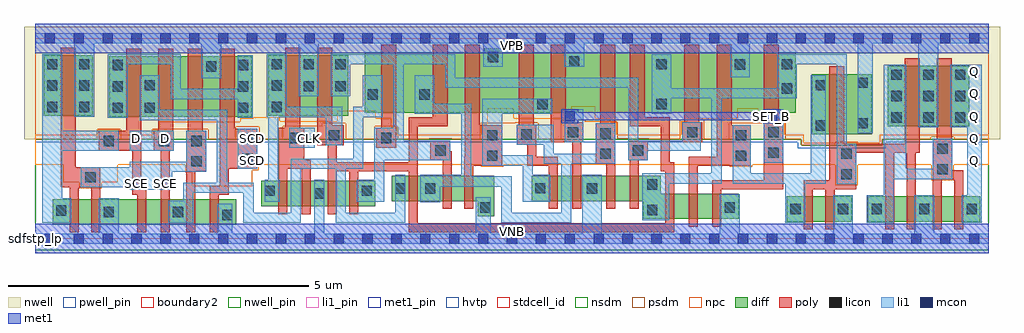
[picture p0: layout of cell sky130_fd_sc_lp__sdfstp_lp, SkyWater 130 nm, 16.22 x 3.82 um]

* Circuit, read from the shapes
.subckt sky130_fd_sc_lp__sdfstp_lp CLK D Q SCD SCE SET_B VGND VNB VPB VPWR
XM1 n1 SCE n2 VNB sky130_fd_pr__nfet_01v8 w=0.42 l=0.15
XM2 VGND SCE n1 VNB sky130_fd_pr__nfet_01v8 w=0.42 l=0.15
XM3 n3 n2 VGND VNB sky130_fd_pr__nfet_01v8 w=0.42 l=0.15
XM4 n4 D n3 VNB sky130_fd_pr__nfet_01v8 w=0.42 l=0.15
XM5 n5 SCE n4 VNB sky130_fd_pr__nfet_01v8 w=0.42 l=0.15
XM6 VGND SCD n5 VNB sky130_fd_pr__nfet_01v8 w=0.42 l=0.15
XM7 n6 CLK n7 VNB sky130_fd_pr__nfet_01v8 w=0.42 l=0.15
XM8 VGND CLK n6 VNB sky130_fd_pr__nfet_01v8 w=0.42 l=0.15
XM9 n8 n7 VGND VNB sky130_fd_pr__nfet_01v8 w=0.42 l=0.15
XM10 n9 n7 n8 VNB sky130_fd_pr__nfet_01v8 w=0.42 l=0.15
XM11 n10 n7 n4 VNB sky130_fd_pr__nfet_01v8 w=0.42 l=0.15
XM12 n11 n9 n10 VNB sky130_fd_pr__nfet_01v8 w=0.42 l=0.15
XM13 VGND n12 n11 VNB sky130_fd_pr__nfet_01v8 w=0.42 l=0.15
XM14 n13 n10 n12 VNB sky130_fd_pr__nfet_01v8 w=0.42 l=0.15
XM15 VGND SET_B n13 VNB sky130_fd_pr__nfet_01v8 w=0.42 l=0.15
XM16 n14 n10 VGND VNB sky130_fd_pr__nfet_01v8 w=0.42 l=0.15
XM17 n15 n9 n14 VNB sky130_fd_pr__nfet_01v8 w=0.42 l=0.15
XM18 n16 n7 n15 VNB sky130_fd_pr__nfet_01v8 w=0.42 l=0.15
XM19 n17 n18 n16 VNB sky130_fd_pr__nfet_01v8 w=0.42 l=0.15
XM20 VGND SET_B n17 VNB sky130_fd_pr__nfet_01v8 w=0.42 l=0.15
XM21 n19 n15 n18 VNB sky130_fd_pr__nfet_01v8 w=0.42 l=0.15
XM22 VGND n15 n19 VNB sky130_fd_pr__nfet_01v8 w=0.42 l=0.15
XM23 n20 n15 n21 VNB sky130_fd_pr__nfet_01v8 w=0.42 l=0.15
XM24 VGND n15 n20 VNB sky130_fd_pr__nfet_01v8 w=0.42 l=0.15
XM25 n22 n21 VGND VNB sky130_fd_pr__nfet_01v8 w=0.42 l=0.15
XM26 Q n21 n22 VNB sky130_fd_pr__nfet_01v8 w=0.42 l=0.15
XM27 VPWR SCE n2 VPB sky130_fd_pr__pfet_01v8_hvt w=1 l=0.25
XM28 n4 n2 n23 VPB sky130_fd_pr__pfet_01v8_hvt w=1 l=0.25
XM29 n24 D n4 VPB sky130_fd_pr__pfet_01v8_hvt w=1 l=0.25
XM30 VPWR SCE n24 VPB sky130_fd_pr__pfet_01v8_hvt w=1 l=0.25
XM31 n23 SCD VPWR VPB sky130_fd_pr__pfet_01v8_hvt w=1 l=0.25
XM32 VPWR CLK n7 VPB sky130_fd_pr__pfet_01v8_hvt w=1 l=0.25
XM33 n9 n7 VPWR VPB sky130_fd_pr__pfet_01v8_hvt w=1 l=0.25
XM34 n10 n9 n4 VPB sky130_fd_pr__pfet_01v8_hvt w=1 l=0.25
XM35 n25 n7 n10 VPB sky130_fd_pr__pfet_01v8_hvt w=1 l=0.25
XM36 VPWR n12 n25 VPB sky130_fd_pr__pfet_01v8_hvt w=1 l=0.25
XM37 n12 n10 VPWR VPB sky130_fd_pr__pfet_01v8_hvt w=1 l=0.25
XM38 VPWR SET_B n12 VPB sky130_fd_pr__pfet_01v8_hvt w=1 l=0.25
XM39 n26 n10 VPWR VPB sky130_fd_pr__pfet_01v8_hvt w=1 l=0.25
XM40 n15 n7 n26 VPB sky130_fd_pr__pfet_01v8_hvt w=1 l=0.25
XM41 n27 n9 n15 VPB sky130_fd_pr__pfet_01v8_hvt w=1 l=0.25
XM42 VPWR n18 n27 VPB sky130_fd_pr__pfet_01v8_hvt w=1 l=0.25
XM43 n15 SET_B VPWR VPB sky130_fd_pr__pfet_01v8_hvt w=1 l=0.25
XM44 VPWR n15 n18 VPB sky130_fd_pr__pfet_01v8_hvt w=1 l=0.25
XM45 VPWR n15 n21 VPB sky130_fd_pr__pfet_01v8_hvt w=1 l=0.25
XM46 Q n21 VPWR VPB sky130_fd_pr__pfet_01v8_hvt w=1 l=0.25
.ends

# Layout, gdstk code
import gdstk
lib = gdstk.Library(unit=1e-6, precision=1e-09)
def R(c, l, rs):  # rectangles x0, y0, x1, y1
    for r in rs: c.add(gdstk.rectangle(r[:2], r[2:], *l))
def A(c, l, x, y, w, h, nx, ny, dx, dy):  # array of equal rectangles
    R(c, l, [(x+i*dx, y+j*dy, x+i*dx+w, y+j*dy+h) for i in range(nx) for j in range(ny)])
def P(c, l, *ps):  # polygons
    for p in ps: c.add(gdstk.Polygon(p, *l))
nwell_pin = (64, 16)
nwell = (64, 20)
diff = (65, 20)
poly = (66, 20)
licon = (66, 44)
li1_pin = (67, 16)
li1 = (67, 20)
mcon = (67, 44)
met1_pin = (68, 16)
met1 = (68, 20)
hvtp = (78, 44)
stdcell_id = (81, 4)
nsdm = (93, 44)
psdm = (94, 20)
npc = (95, 20)
pwell_pin = (122, 16)
boundary2 = (236, 0)

sky130_fd_sc_lp__sdfstp_ = lib.new_cell('sky130_fd_sc_lp__sdfstp_lp')
R(sky130_fd_sc_lp__sdfstp_, nwell_pin, [(0,3.085,15.84,3.33)])
P(sky130_fd_sc_lp__sdfstp_, nwell, [(16.03,3.52),(-0.19,3.52),(-0.19,1.655),(12.725,1.655),(12.725,1.555),(14.075,1.555),(14.075,1.655),(16.03,1.655)])
R(sky130_fd_sc_lp__sdfstp_, diff, [(0.285,0.235,3.335,0.655), (12.485,0.285,13.565,0.705), (13.835,0.285,15.705,0.705), (3.75,0.54,5.65,0.96), (12.905,1.735,13.895,2.735), (14.165,1.87,15.515,2.87), (1.225,2.03,3.595,3.03), (0.135,2.045,0.955,3.045), (3.865,2.045,5.2,3.045)])
P(sky130_fd_sc_lp__sdfstp_, diff, [(7.625,1.045),(5.92,1.045),(5.92,0.625),(7.35,0.625),(7.35,0.375),(7.625,0.375)],
  [(11.685,0.75),(10.395,0.75),(10.395,1.045),(8.245,1.045),(8.245,0.625),(10.105,0.625),(10.105,0.33),(11.685,0.33)],
  [(12.635,3.095),(7.75,3.095),(7.75,3.165),(7.46,3.165),(7.46,3.095),(5.47,3.095),(5.47,2.095),(12.635,2.095)])
P(sky130_fd_sc_lp__sdfstp_, poly, [(1.08,1.185),(0.67,1.185),(0.67,3.175),(0.42,3.175),(0.42,0.855),(0.57,0.855),(0.57,0.105),(0.72,0.105),(0.72,0.855),(0.93,0.855),(0.93,0.105),(1.08,0.105)],
  [(1.84,0.88),(1.76,0.88),(1.76,3.16),(1.51,3.16),(1.51,1.79),(1.055,1.79),(1.055,1.46),(1.61,1.46),(1.61,0.73),(1.69,0.73),(1.69,0.105),(1.84,0.105)],
  [(2.3,1.79),(2.29,1.79),(2.29,3.16),(2.04,3.16),(2.04,1.79),(1.97,1.79),(1.97,1.46),(2.08,1.46),(2.08,0.105),(2.23,0.105),(2.23,1.46),(2.3,1.46)],
  [(2.84,1.79),(2.78,1.79),(2.78,3.16),(2.53,3.16),(2.53,1.79),(2.51,1.79),(2.51,0.105),(2.66,0.105),(2.66,1.12),(2.84,1.12)],
  [(3.69,1.83),(3.31,1.83),(3.31,3.16),(3.06,3.16),(3.06,0.88),(2.9,0.88),(2.9,0.105),(3.05,0.105),(3.05,0.73),(3.21,0.73),(3.21,1.16),(3.69,1.16)],
  [(4.575,1.315),(4.47,1.315),(4.47,1.84),(4.4,1.84),(4.4,3.175),(4.15,3.175),(4.15,1.84),(4.035,1.84),(4.035,0.41),(4.185,0.41),(4.185,1.165),(4.425,1.165),(4.425,0.41),(4.575,0.41)],
  [(5.995,3.225),(5.745,3.225),(5.745,1.84),(5.665,1.84),(5.665,1.51),(5.995,1.51)],
  [(6.915,1.45),(6.895,1.45),(6.895,1.63),(6.565,1.63),(6.565,1.3),(6.765,1.3),(6.765,0.495),(6.915,0.495)],
  [(7.755,1.885),(7.385,1.885),(7.385,3.225),(7.135,3.225),(7.135,1.365),(7.125,1.365),(7.125,0.495),(7.275,0.495),(7.275,1.215),(7.755,1.215)],
  [(8.68,1.365),(8.325,1.365),(8.325,1.895),(8.285,1.895),(8.285,3.225),(8.035,3.225),(8.035,1.895),(7.995,1.895),(7.995,1.565),(8.175,1.565),(8.175,1.215),(8.53,1.215),(8.53,0.495),(8.68,0.495)],
  [(9.1,1.935),(8.815,1.935),(8.815,3.225),(8.565,3.225),(8.565,1.605),(8.92,1.605),(8.92,0.495),(9.07,0.495),(9.07,1.605),(9.1,1.605)],
  [(9.64,3.225),(9.39,3.225),(9.39,1.915),(9.31,1.915),(9.31,1.245),(9.49,1.245),(9.49,0.495),(9.64,0.495)],
  [(10.18,1.63),(9.85,1.63),(9.85,1.3),(9.88,1.3),(9.88,0.495),(10.03,0.495),(10.03,1.3),(10.18,1.3)],
  [(10.62,1.27),(10.54,1.27),(10.54,2.02),(10.13,2.02),(10.13,3.225),(9.88,3.225),(9.88,1.87),(10.39,1.87),(10.39,1.12),(10.47,1.12),(10.47,0.255),(6.355,0.255),(6.355,1.87),(6.855,1.87),(6.855,3.225),(6.605,3.225),(6.605,2.02),(6.205,2.02),(6.205,1.27),(5.005,1.27),(5.005,1.555),(5.125,1.555),(5.125,1.885),(4.93,1.885),(4.93,3.175),(4.68,3.175),(4.68,1.555),(4.855,1.555),(4.855,0.41),(5.005,0.41),(5.005,1.12),(5.215,1.12),(5.215,0.41),(5.365,0.41),(5.365,1.12),(6.205,1.12),(6.205,0.105),(10.62,0.105)],
  [(11.08,1.935),(11.03,1.935),(11.03,3.225),(10.78,3.225),(10.78,1.935),(10.75,1.935),(10.75,1.605),(11.08,1.605)],
  [(11.89,1.885),(11.57,1.885),(11.57,3.225),(11.32,3.225),(11.32,1.365),(10.86,1.365),(10.86,0.2),(11.01,0.2),(11.01,1.215),(11.89,1.215)],
  [(12.43,1.935),(12.35,1.935),(12.35,3.225),(12.1,3.225),(12.1,0.975),(11.25,0.975),(11.25,0.2),(11.4,0.2),(11.4,0.825),(12.43,0.825)],
  [(14.7,3),(14.45,3),(14.45,1.575),(13.44,1.575),(13.44,2.865),(13.19,2.865),(13.19,0.975),(12.77,0.975),(12.77,0.155),(12.92,0.155),(12.92,0.825),(13.13,0.825),(13.13,0.155),(13.28,0.155),(13.28,0.825),(13.645,0.825),(13.645,1.425),(14.12,1.425),(14.12,0.155),(14.27,0.155),(14.27,1.425),(14.48,1.425),(14.48,0.155),(14.63,0.155),(14.63,1.425),(14.7,1.425)],
  [(15.42,1.14),(15.24,1.14),(15.24,1.66),(15.23,1.66),(15.23,3),(14.98,3),(14.98,1.66),(14.91,1.66),(14.91,0.155),(15.06,0.155),(15.06,0.99),(15.27,0.99),(15.27,0.155),(15.42,0.155)])
A(sky130_fd_sc_lp__sdfstp_, licon, 13.895, 0.41, 0.17, 0.17, 3, 1, 0.79, 0)
A(sky130_fd_sc_lp__sdfstp_, licon, 14.225, 1.93, 0.17, 0.17, 3, 3, 0.53, 0.355)
A(sky130_fd_sc_lp__sdfstp_, licon, 1.285, 2.09, 0.17, 0.17, 1, 3, 0, 0.355)
A(sky130_fd_sc_lp__sdfstp_, licon, 3.365, 2.09, 0.17, 0.17, 1, 3, 0, 0.355)
A(sky130_fd_sc_lp__sdfstp_, licon, 0.195, 2.105, 0.17, 0.17, 1, 3, 0, 0.355)
A(sky130_fd_sc_lp__sdfstp_, licon, 0.725, 2.105, 0.17, 0.17, 1, 3, 0, 0.355)
A(sky130_fd_sc_lp__sdfstp_, licon, 3.925, 2.815, 0.17, 0.17, 3, 1, 0.53, 0)
R(sky130_fd_sc_lp__sdfstp_, licon, [(3.105,0.31,3.275,0.48), (1.135,0.36,1.305,0.53), (2.285,0.36,2.455,0.53), (0.345,0.385,0.515,0.555), (10.165,0.39,10.335,0.56), (12.545,0.41,12.715,0.58), (13.335,0.41,13.505,0.58), (7.395,0.435,7.565,0.605), (11.455,0.435,11.625,0.605), (4.63,0.665,4.8,0.835), (3.81,0.71,3.98,0.88), (5.42,0.71,5.59,0.88), (5.98,0.75,6.15,0.92), (6.475,0.75,6.645,0.92), (9.165,0.75,9.335,0.92), (8.305,0.755,8.475,0.925), (10.165,0.815,10.335,0.985), (0.83,0.935,1,1.105), (13.395,0.985,13.565,1.155), (14.99,1.07,15.16,1.24), (2.59,1.2,2.76,1.37), (3.44,1.24,3.61,1.41), (7.505,1.295,7.675,1.465), (11.64,1.295,11.81,1.465), (9.39,1.325,9.56,1.495), (13.395,1.325,13.565,1.495), (12.18,1.345,12.35,1.515), (6.645,1.38,6.815,1.55), (9.93,1.38,10.1,1.55), (14.99,1.41,15.16,1.58), (1.135,1.54,1.305,1.71), (2.05,1.54,2.22,1.71), (2.59,1.54,2.76,1.71), (3.44,1.58,3.61,1.75), (4.22,1.59,4.39,1.76), (5.745,1.59,5.915,1.76), (4.875,1.635,5.045,1.805), (7.505,1.635,7.675,1.805), (11.64,1.635,11.81,1.805), (8.075,1.645,8.245,1.815), (9.39,1.665,9.56,1.835), (8.85,1.685,9.02,1.855), (10.83,1.685,11,1.855), (12.18,1.685,12.35,1.855), (12.965,1.795,13.135,1.965), (13.665,1.835,13.835,2.005), (1.815,2.09,1.985,2.26), (3.925,2.105,4.095,2.275), (8.34,2.155,8.51,2.325), (10.32,2.155,10.49,2.325), (5.52,2.31,5.69,2.48), (6.38,2.31,6.55,2.48), (12.405,2.41,12.575,2.58), (4.455,2.45,4.625,2.62), (4.985,2.45,5.155,2.62), (3.925,2.46,4.095,2.63), (1.815,2.465,1.985,2.635), (12.965,2.465,13.135,2.635), (13.665,2.505,13.835,2.675), (2.835,2.775,3.005,2.945), (11.625,2.81,11.795,2.98), (10.32,2.815,10.49,2.985), (12.405,2.815,12.575,2.985), (8.87,2.86,9.04,3.03), (7.52,2.935,7.69,3.105)])
A(sky130_fd_sc_lp__sdfstp_, li1_pin, 15.515, 1.21, 0.17, 0.17, 1, 5, 0, 0.37)
R(sky130_fd_sc_lp__sdfstp_, li1_pin, [(1.595,0.84,1.765,1.01), (2.075,0.84,2.245,1.01), (3.515,1.21,3.685,1.38), (1.595,1.58,1.765,1.75), (2.075,1.58,2.245,1.75), (3.515,1.58,3.685,1.75), (4.475,1.58,4.645,1.75)])
R(sky130_fd_sc_lp__sdfstp_, li1, [(3.365,1.16,3.685,1.83), (12.1,1.265,12.43,2.15), (1.565,1.46,2.3,1.79), (4.215,1.51,4.645,1.84), (8.795,1.605,9.1,2.15)])
P(sky130_fd_sc_lp__sdfstp_, li1, [(0.645,2.025),(0.645,3.245),(0,3.245),(0,3.415),(15.84,3.415),(15.84,3.245),(15.005,3.245),(15.005,1.85),(14.675,1.85),(14.675,3.245),(13.915,3.245),(13.915,1.755),(13.665,1.755),(13.665,3.245),(11.875,3.245),(11.875,2.68),(11.545,2.68),(11.545,3.245),(9.12,3.245),(9.12,2.855),(8.79,2.855),(8.79,3.245),(7.77,3.245),(7.77,2.855),(7.44,2.855),(7.44,3.245),(4.705,3.245),(4.705,2.37),(4.375,2.37),(4.375,3.245),(3.085,3.245),(3.085,2.67),(2.755,2.67),(2.755,3.245),(0.975,3.245),(0.975,2.025)],
  [(1.055,0.085),(1.055,0.675),(1.385,0.675),(1.385,0.085),(3.025,0.085),(3.025,0.58),(3.275,0.58),(3.275,0.085),(4.63,0.085),(4.63,0.98),(4.8,0.98),(4.8,0.085),(7.315,0.085),(7.315,0.685),(7.565,0.685),(7.565,0.085),(9.085,0.085),(9.085,1.065),(9.415,1.065),(9.415,0.085),(11.375,0.085),(11.375,0.735),(11.705,0.735),(11.705,0.085),(13.255,0.085),(13.255,0.725),(13.585,0.725),(13.585,0.085),(14.605,0.085),(14.605,0.725),(14.935,0.725),(14.935,0.085),(15.84,0.085),(15.84,-0.085),(0,-0.085),(0,0.085)],
  [(14.475,1.16),(14.91,1.16),(14.91,1.66),(15.24,1.66),(15.24,0.99),(14.265,0.99),(14.265,0.265),(13.815,0.265),(13.815,0.725),(14.095,0.725),(14.095,2.89),(14.475,2.89)],
  [(0.115,3.065),(0.445,3.065),(0.445,1.79),(1.385,1.79),(1.385,1.46),(0.445,1.46),(0.445,0.675),(0.595,0.675),(0.595,0.265),(0.115,0.265)],
  [(7.755,1.385),(8.265,1.385),(8.265,1.065),(8.555,1.065),(8.555,0.615),(8.095,0.615),(8.095,1.215),(7.425,1.215),(7.425,2.325),(8.59,2.325),(8.59,2.075),(7.755,2.075)],
  [(6.98,2.675),(10.02,2.675),(10.02,1.63),(10.75,1.63),(10.75,1.935),(11.055,1.935),(11.055,1.46),(10.18,1.46),(10.18,1.3),(9.85,1.3),(9.85,2.505),(6.81,2.505),(6.81,2.895),(6.12,2.895),(6.12,1.63),(6.895,1.63),(6.895,1.3),(5.8,1.3),(5.8,0.615),(5.34,0.615),(5.34,0.98),(5.63,0.98),(5.63,1.84),(5.95,1.84),(5.95,2.895),(5.235,2.895),(5.235,2.37),(4.905,2.37),(4.905,3.065),(6.98,3.065)],
  [(2.455,0.93),(3.015,0.93),(3.015,1.97),(1.735,1.97),(1.735,2.715),(2.065,2.715),(2.065,2.14),(3.185,2.14),(3.185,0.93),(3.625,0.93),(3.625,0.435),(4.24,0.435),(4.24,1.33),(5.28,1.33),(5.28,2.19),(5.44,2.19),(5.44,2.715),(5.77,2.715),(5.77,2.02),(5.45,2.02),(5.45,1.16),(5.16,1.16),(5.16,0.435),(5.98,0.435),(5.98,1.065),(6.15,1.065),(6.15,0.265),(4.99,0.265),(4.99,1.16),(4.41,1.16),(4.41,0.265),(3.455,0.265),(3.455,0.76),(2.625,0.76),(2.625,0.265),(2.205,0.265),(2.205,0.63),(2.455,0.63)],
  [(11.89,1.085),(12.885,1.085),(12.885,2.715),(13.135,2.715),(13.135,0.915),(12.795,0.915),(12.795,0.265),(12.465,0.265),(12.465,0.915),(11.585,0.915),(11.585,1.885),(11.89,1.885)],
  [(4.175,2.19),(5.1,2.19),(5.1,1.555),(4.825,1.555),(4.825,2.02),(4.035,2.02),(4.035,0.98),(4.06,0.98),(4.06,0.615),(3.81,0.615),(3.81,0.98),(3.865,0.98),(3.865,2.02),(3.845,2.02),(3.845,3.065),(4.175,3.065)],
  [(1.565,0.81),(1.565,0.855),(0.75,0.855),(0.75,1.185),(1.565,1.185),(1.565,1.28),(2.51,1.28),(2.51,1.79),(2.835,1.79),(2.835,1.11),(2.275,1.11),(2.275,0.81)],
  [(11.235,1.085),(11.235,2.33),(10.57,2.33),(10.57,2.075),(10.24,2.075),(10.24,3.065),(10.57,3.065),(10.57,2.5),(12.325,2.5),(12.325,3.065),(13.485,3.065),(13.485,1.575),(13.645,1.575),(13.645,0.905),(13.315,0.905),(13.315,2.895),(12.655,2.895),(12.655,2.33),(11.405,2.33),(11.405,0.915),(10.53,0.915),(10.53,0.31),(10.085,0.31),(10.085,1.085)],
  [(7.075,1.065),(7.075,2.075),(6.3,2.075),(6.3,2.715),(6.63,2.715),(6.63,2.245),(7.245,2.245),(7.245,1.035),(7.915,1.035),(7.915,0.435),(8.735,0.435),(8.735,1.245),(8.445,1.245),(8.445,1.565),(7.995,1.565),(7.995,1.895),(8.615,1.895),(8.615,1.415),(9.31,1.415),(9.31,1.915),(9.64,1.915),(9.64,1.245),(8.905,1.245),(8.905,0.265),(7.745,0.265),(7.745,0.865),(6.725,0.865),(6.725,0.605),(6.395,0.605),(6.395,1.065)],
  [(2.415,2.49),(3.365,2.49),(3.365,3.05),(3.615,3.05),(3.615,2.01),(3.365,2.01),(3.365,2.32),(2.245,2.32),(2.245,2.895),(1.535,2.895),(1.535,2.01),(1.205,2.01),(1.205,3.065),(2.415,3.065)],
  [(15.485,0.725),(15.485,1.85),(15.205,1.85),(15.205,2.89),(15.725,2.89),(15.725,0.265),(15.395,0.265),(15.395,0.725)])
A(sky130_fd_sc_lp__sdfstp_, mcon, 0.155, -0.085, 0.17, 0.17, 33, 2, 0.48, 3.33)
R(sky130_fd_sc_lp__sdfstp_, mcon, [(8.795,1.95,8.965,2.12), (12.155,1.95,12.325,2.12)])
R(sky130_fd_sc_lp__sdfstp_, met1_pin, [(0,0,15.84,0.245), (12.155,1.95,12.325,2.12), (0,3.085,15.84,3.33)])
R(sky130_fd_sc_lp__sdfstp_, met1, [(0,-0.245,15.84,0.245), (0,3.085,15.84,3.575)])
P(sky130_fd_sc_lp__sdfstp_, met1, [(9.025,2.105),(12.095,2.105),(12.095,2.15),(12.385,2.15),(12.385,1.92),(12.095,1.92),(12.095,1.965),(9.025,1.965),(9.025,1.92),(8.735,1.92),(8.735,2.15),(9.025,2.15)])
P(sky130_fd_sc_lp__sdfstp_, hvtp, [(15.84,3.33),(0,3.33),(0,1.6),(12.67,1.6),(12.67,1.5),(14.13,1.5),(14.13,1.6),(15.84,1.6)])
R(sky130_fd_sc_lp__sdfstp_, stdcell_id, [(0,0,15.84,3.33)])
P(sky130_fd_sc_lp__sdfstp_, nsdm, [(15.84,1.655),(14.075,1.655),(14.075,1.555),(12.725,1.555),(12.725,1.655),(0,1.655),(0,-0.19),(15.84,-0.19)])
P(sky130_fd_sc_lp__sdfstp_, psdm, [(15.84,3.52),(0,3.52),(0,1.655),(1.025,1.655),(1.025,1.82),(1.415,1.82),(1.415,1.655),(1.94,1.655),(1.94,1.82),(2.87,1.82),(2.87,1.655),(3.33,1.655),(3.33,1.86),(3.72,1.86),(3.72,1.655),(4.11,1.655),(4.11,1.87),(4.765,1.87),(4.765,1.915),(5.155,1.915),(5.155,1.655),(5.635,1.655),(5.635,1.87),(6.025,1.87),(6.025,1.655),(6.535,1.655),(6.535,1.66),(6.925,1.66),(6.925,1.655),(7.395,1.655),(7.395,1.915),(7.965,1.915),(7.965,1.925),(8.355,1.925),(8.355,1.655),(8.74,1.655),(8.74,1.965),(9.13,1.965),(9.13,1.945),(9.67,1.945),(9.67,1.66),(10.21,1.66),(10.21,1.655),(10.72,1.655),(10.72,1.965),(11.11,1.965),(11.11,1.655),(11.53,1.655),(11.53,1.915),(12.07,1.915),(12.07,1.965),(12.46,1.965),(12.46,1.655),(12.725,1.655),(12.725,1.555),(13.285,1.555),(13.285,1.605),(13.675,1.605),(13.675,1.555),(14.075,1.555),(14.075,1.655),(14.88,1.655),(14.88,1.69),(15.27,1.69),(15.27,1.655),(15.84,1.655)])
P(sky130_fd_sc_lp__sdfstp_, npc, [(15.84,1.73),(14.035,1.73),(14.035,1.595),(12.765,1.595),(12.765,1.73),(12.45,1.73),(12.45,1.955),(12.345,1.955),(12.345,2.005),(12.01,2.005),(12.01,2.17),(11.66,2.17),(11.66,2.005),(10.835,2.005),(10.835,1.955),(10.73,1.955),(10.73,1.73),(9.66,1.73),(9.66,1.935),(9.555,1.935),(9.555,2.005),(9.3,2.005),(9.3,2.2),(8.905,2.2),(8.905,2.005),(7.945,2.005),(7.945,2.17),(7.51,2.17),(7.51,1.905),(7.405,1.905),(7.405,1.73),(6.015,1.73),(6.015,1.86),(5.91,1.86),(5.91,2.005),(5.655,2.005),(5.655,2.125),(5.02,2.125),(5.02,1.955),(4.06,1.955),(4.06,2.015),(3.625,2.015),(3.625,2),(3.4,2),(3.4,1.94),(2.055,1.94),(2.055,1.81),(1.95,1.81),(1.95,1.73),(1.405,1.73),(1.405,1.81),(1.035,1.81),(1.035,1.73),(0,1.73),(0,1.23),(0.465,1.23),(0.465,0.94),(0.73,0.94),(0.73,0.835),(1.1,0.835),(1.1,0.94),(1.365,0.94),(1.365,1.23),(2.49,1.23),(2.49,1.1),(2.595,1.1),(2.595,0.875),(3.605,0.875),(3.605,1.14),(3.71,1.14),(3.71,1.23),(7.405,1.23),(7.405,1.195),(7.775,1.195),(7.775,1.23),(9.29,1.23),(9.29,1.225),(9.66,1.225),(9.66,1.23),(11.54,1.23),(11.54,1.195),(11.91,1.195),(11.91,1.23),(13.295,1.23),(13.295,0.885),(13.665,0.885),(13.665,1.23),(14.89,1.23),(14.89,0.97),(15.26,0.97),(15.26,1.23),(15.84,1.23)])
R(sky130_fd_sc_lp__sdfstp_, pwell_pin, [(0,0,15.84,0.245)])
R(sky130_fd_sc_lp__sdfstp_, boundary2, [(0,0,15.84,3.33)])
sky130_fd_sc_lp__sdfstp_.add(gdstk.Label('VNB', (7.92,0.123), layer=64, texttype=59))
sky130_fd_sc_lp__sdfstp_.add(gdstk.Label('VPB', (7.92,3.208), layer=64, texttype=5))
sky130_fd_sc_lp__sdfstp_.add(gdstk.Label('sdfstp_lp', (0,0), layer=83, texttype=44))
sky130_fd_sc_lp__sdfstp_.add(gdstk.Label('SET_B', (12.24,2.035), layer=68, texttype=5))
sky130_fd_sc_lp__sdfstp_.add(gdstk.Label('VPWR', (7.92,3.208), layer=68, texttype=5))
sky130_fd_sc_lp__sdfstp_.add(gdstk.Label('VGND', (7.92,0.123), layer=68, texttype=5))
sky130_fd_sc_lp__sdfstp_.add(gdstk.Label('D', (1.68,1.665), layer=67, texttype=5))
sky130_fd_sc_lp__sdfstp_.add(gdstk.Label('D', (2.16,1.665), layer=67, texttype=5))
sky130_fd_sc_lp__sdfstp_.add(gdstk.Label('SCD', (3.6,1.295), layer=67, texttype=5))
sky130_fd_sc_lp__sdfstp_.add(gdstk.Label('SCD', (3.6,1.665), layer=67, texttype=5))
sky130_fd_sc_lp__sdfstp_.add(gdstk.Label('CLK', (4.56,1.665), layer=67, texttype=5))
sky130_fd_sc_lp__sdfstp_.add(gdstk.Label('SCE', (1.68,0.925), layer=67, texttype=5))
sky130_fd_sc_lp__sdfstp_.add(gdstk.Label('SCE', (2.16,0.925), layer=67, texttype=5))
sky130_fd_sc_lp__sdfstp_.add(gdstk.Label('Q', (15.6,1.295), layer=67, texttype=5))
sky130_fd_sc_lp__sdfstp_.add(gdstk.Label('Q', (15.6,1.665), layer=67, texttype=5))
sky130_fd_sc_lp__sdfstp_.add(gdstk.Label('Q', (15.6,2.035), layer=67, texttype=5))
sky130_fd_sc_lp__sdfstp_.add(gdstk.Label('Q', (15.6,2.405), layer=67, texttype=5))
sky130_fd_sc_lp__sdfstp_.add(gdstk.Label('Q', (15.6,2.775), layer=67, texttype=5))

lib.write_gds('sky130_fd_sc_lp__sdfstp_lp.gds')
